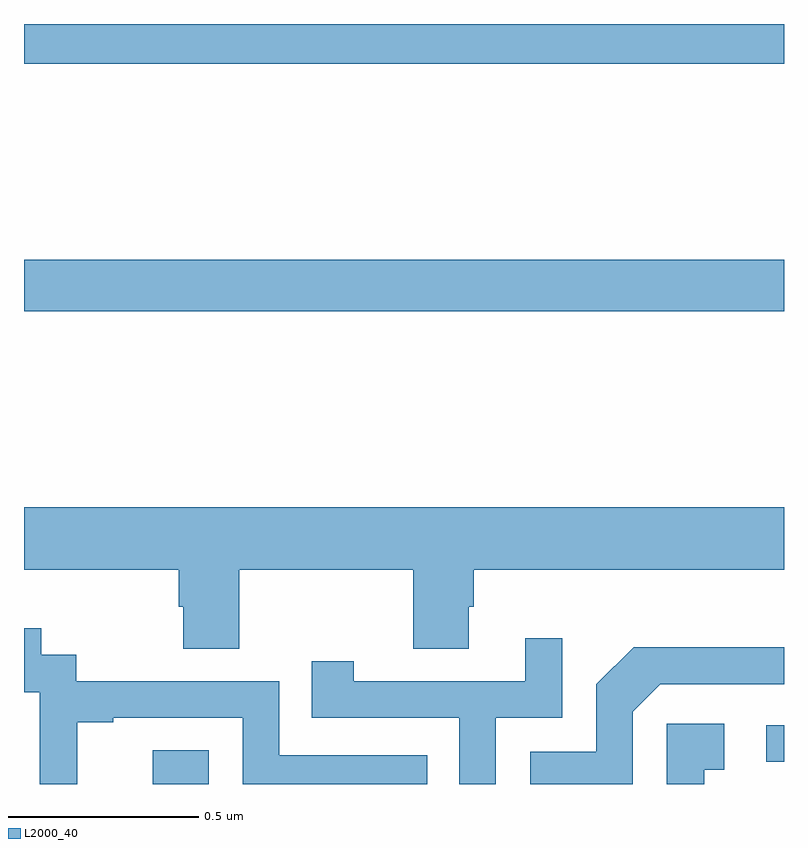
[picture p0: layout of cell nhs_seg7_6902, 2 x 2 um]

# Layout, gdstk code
import gdstk
lib = gdstk.Library(unit=1e-6, precision=1e-09)
def R(c, l, rs):  # rectangles x0, y0, x1, y1
    for r in rs: c.add(gdstk.rectangle(r[:2], r[2:], *l))
def P(c, l, *ps):  # polygons
    for p in ps: c.add(gdstk.Polygon(p, *l))
L2000_40 = (2000, 40)

nhs_seg7_6902 = lib.new_cell('nhs_seg7_6902')
R(nhs_seg7_6902, L2000_40, [(204.339,1052,204.486,1052.089), (205.953,1052.058,206,1052.154), (204,1053.244,206,1053.38), (204,1053.896,206,1054)])
P(nhs_seg7_6902, L2000_40, [(204.567,1052.564),(205.024,1052.564),(205.024,1052.356),(205.171,1052.356),(205.171,1052.466),(205.184,1052.466),(205.184,1052.564),(206,1052.564),(206,1052.728),(204,1052.728),(204,1052.564),(204.407,1052.564),(204.407,1052.466),(204.419,1052.466),(204.419,1052.356),(204.567,1052.356)],
  [(204.14,1052.163),(204.235,1052.163),(204.235,1052.175),(204.576,1052.175),(204.576,1052),(205.061,1052),(205.061,1052.076),(204.672,1052.076),(204.672,1052.271),(204.138,1052.271),(204.138,1052.34),(204.046,1052.34),(204.046,1052.41),(204,1052.41),(204,1052.241),(204.042,1052.241),(204.042,1052.012),(204.041,1052.012),(204.041,1052),(204.14,1052)],
  [(205.242,1052.175),(205.416,1052.175),(205.416,1052.383),(205.319,1052.383),(205.319,1052.271),(204.868,1052.271),(204.868,1052.323),(204.757,1052.323),(204.757,1052.175),(205.146,1052.175),(205.146,1052),(205.242,1052)],
  [(205.602,1052.19),(205.674,1052.262),(206,1052.262),(206,1052.36),(205.604,1052.36),(205.506,1052.262),(205.506,1052.085),(205.332,1052.085),(205.332,1052),(205.602,1052)],
  [(205.79,1052.037),(205.843,1052.037),(205.843,1052.158),(205.692,1052.158),(205.692,1052),(205.79,1052)])

lib.write_gds('nhs_seg7_6902.gds')
